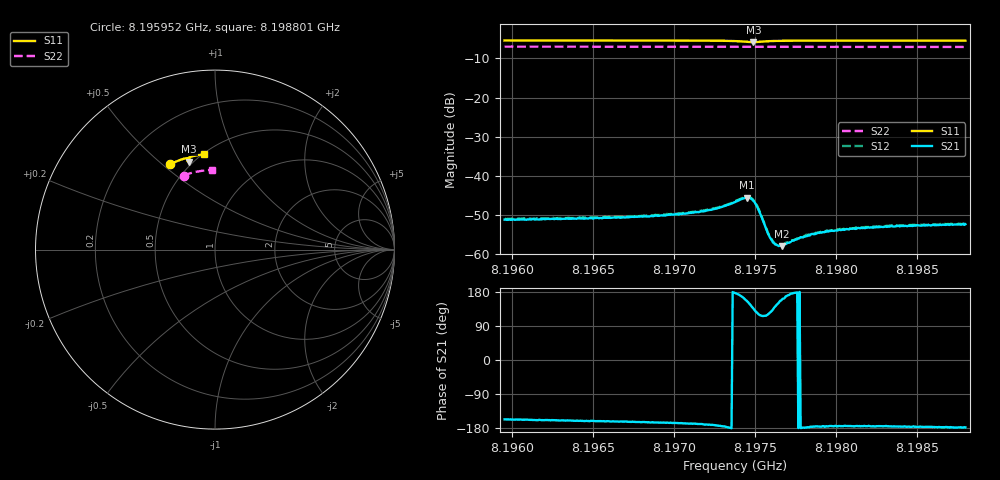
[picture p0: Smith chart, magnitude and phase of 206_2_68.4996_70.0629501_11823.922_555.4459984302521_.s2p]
#  HZ  S  RI  R  50.00
! Rohde & Schwarz Vector Network Analyzer
! Rohde-Schwarz,ZNB20-2Port,1311601062101988,3.16
! Created: UTC 3/20/2024, 5:12:57 PM
! freq[Hz]  re:S11  im:S11  re:S21  im:S21  re:S12  im:S12  re:S22  im:S22
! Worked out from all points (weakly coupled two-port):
!   401 points, 8.195952 GHz to 8.198801 GHz, reference 50 ohm
!   highest |S21| = -45.61 dB at 8.197448 GHz (marker M1); lowest = -58.1 dB at 8.197668 GHz (marker M2)
!   lowest |S11| = -5.8 dB at 8.19749 GHz (marker M3), VSWR 3.09, Z = 23.8 + j31.6 ohm
!   |S11| at or under -10 dB: nowhere
!   |S22| runs from -7.1 to -7.0 dB; largest |S21 - S12| = 0.00029
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8.1959516e9  -0.2508 0.4748  -0.00251 -0.00109  -0.00263 -0.00102  -0.1748 0.4127
8.1964289e9  -0.2197 0.4895  -0.00266 -0.000923  -0.00275 -0.000895  -0.1496 0.4217
8.1969062e9  -0.187 0.502  -0.00296 -0.000769  -0.00306 -0.000675  -0.1237 0.4291
8.1970416e9  -0.1771 0.5053  -0.00314 -0.000759  -0.00324 -0.00062  -0.1162 0.4309
8.1971912e9  -0.165 0.5081  -0.00347 -0.000576  -0.00358 -0.000495  -0.108 0.4329
8.1973051e9  -0.1541 0.5091  -0.00402 -0.000347  -0.0041 -0.000191  -0.1016 0.434
8.1973764e9  -0.1456 0.5073  -0.0046 0.000258  -0.00465 0.000442  -0.0975 0.4349
8.1974476e9  -0.1391 0.4977  -0.00482 0.00207  -0.00477 0.00229  -0.0935 0.4352
8.197469e9  -0.1406 0.4932  -0.00432 0.00283  -0.00426 0.00308  -0.0926 0.4352
8.1974903e9  -0.1447 0.4902  -0.00337 0.00336  -0.0033 0.00356  -0.0914 0.4354
8.1975188e9  -0.1512 0.4914  -0.002 0.00322  -0.00192 0.00334  -0.0901 0.4358
8.197583e9  -0.1542 0.5028  -0.000924 0.00152  -0.000849 0.00158  -0.0867 0.4366
8.1976043e9  -0.1527 0.5058  -0.000949 0.00114  -0.000913 0.00121  -0.0855 0.437
8.1976328e9  -0.1501 0.5088  -0.00107 0.000742  -0.00103 0.000806  -0.084 0.4371
8.1976542e9  -0.1482 0.5104  -0.00116 0.00052  -0.00116 0.000602  -0.0826 0.4375
8.1976684e9  -0.1469 0.5114  -0.00118 0.000414  -0.00123 0.000497  -0.0818 0.4377
8.1977753e9  -0.1374 0.516  -0.00159 6.97e-06  -0.0016 9.33e-05  -0.0758 0.4386
8.1978537e9  -0.1309 0.5184  -0.00179 -0.000114  -0.00182 -3.14e-05  -0.0714 0.4392
8.1979249e9  -0.1255 0.5199  -0.00188 -0.000174  -0.00192 -6.51e-05  -0.0674 0.4396
8.1980104e9  -0.1188 0.5215  -0.00198 -0.000161  -0.00204 -0.000117  -0.0625 0.4403
8.1983309e9  -0.0955 0.5262  -0.00221 -0.000195  -0.00229 -9.06e-05  -0.0445 0.442
8.1988011e9  -0.0618 0.5307  -0.00238 -8.69e-05  -0.0024 1.72e-05  -0.0179 0.4429
